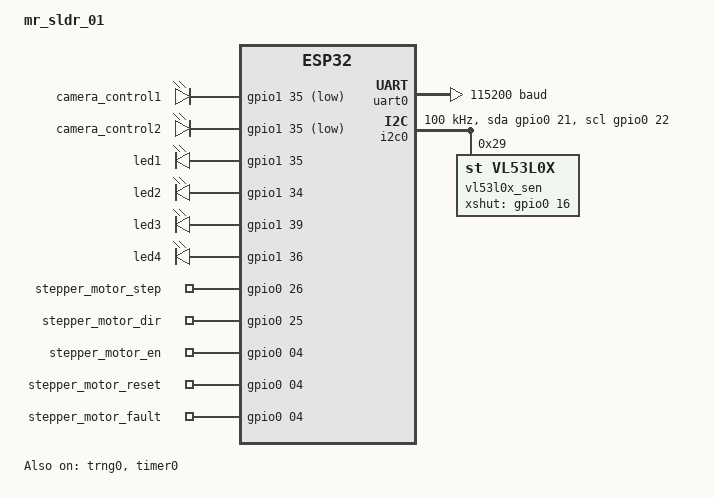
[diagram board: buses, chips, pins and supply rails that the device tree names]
/*
 * Copyright (c) 2021 Espressif Systems (Shanghai) Co., Ltd.
 *
 * SPDX-License-Identifier: Apache-2.0
 */
/dts-v1/;

#include <espressif/esp32.dtsi>
#include "mr_sldr_01-pinctrl.dtsi"

/ {
	model = "mr_sldr_01";
	compatible = "espressif,esp32";

	chosen {
		zephyr,sram = &sram0;
		zephyr,console = &uart0;
		zephyr,shell-uart = &uart0;
		zephyr,flash = &flash0;
	};

	leds {
		compatible = "gpio-leds";
     camera_control1: camera_control1 { 
       gpios = <&gpio1 35 GPIO_ACTIVE_LOW>; 
     }; 
     camera_control2: camera_control2 { 
       gpios = <&gpio1 35 GPIO_ACTIVE_LOW>; 
     }; 
     led1: led1 { 
       gpios = <&gpio1 35 GPIO_ACTIVE_HIGH>; 
     }; 
     led2: led2 { 
       gpios = <&gpio1 34 GPIO_ACTIVE_HIGH>; 
     }; 
     led3: led3 { 
       gpios = <&gpio1 39 GPIO_ACTIVE_HIGH>; 
     }; 
     led4: led4 { 
       gpios = <&gpio1 36 GPIO_ACTIVE_HIGH>; 
     }; 
     stepper_motor_step: stepper_motor_step { 
       gpios = <&gpio0 26 GPIO_ACTIVE_HIGH>; 
     }; 
     stepper_motor_dir: stepper_motor_dir { 
       gpios = <&gpio0 25 GPIO_ACTIVE_HIGH>; 
     }; 
     stepper_motor_en: stepper_motor_en { 
       gpios = <&gpio0 04 GPIO_ACTIVE_HIGH>; 
     }; 
     stepper_motor_reset: stepper_motor_reset { 
       gpios = <&gpio0 04 GPIO_ACTIVE_HIGH>; 
     }; 
     stepper_motor_fault: stepper_motor_fault { 
       gpios = <&gpio0 04 GPIO_ACTIVE_HIGH>; 
     }; 
	};
};

&cpu0 {
	clock-frequency = <ESP32_CLK_CPU_240M>;
};

&cpu1 {
	clock-frequency = <ESP32_CLK_CPU_240M>;
};

&uart0 {
	status = "okay";
	current-speed = <115200>;
	pinctrl-0 = <&uart0_default>;
	pinctrl-names = "default";
};

&gpio0 {
	status = "okay";
};

&gpio1 {
	status = "okay";
};

&i2c0 {
  clock-frequency = <I2C_BITRATE_STANDARD>;
  pinctrl-0 = <&i2c0_default>;
  pinctrl-names = "default";
  status = "okay";
  sda-gpios = <&gpio0 21 GPIO_OPEN_DRAIN>;
  scl-gpios = <&gpio0 22 GPIO_OPEN_DRAIN>;
 vl53l0x_sen: vl53l0x@29{
    compatible = "st,vl53l0x"; 
    reg = < 0x29 >;
    status = "okay";
    friendly-name = "rangefinder";
    xshut-gpios = <&gpio0 16 GPIO_ACTIVE_HIGH>;
  };
};

&trng0 {
	status = "okay";
};

&timer0 {
	status = "okay";
  prescaler = <80>;
};

&flash0 {
	status = "okay";
	partitions {
		compatible = "fixed-partitions";
		#address-cells = <1>;
		#size-cells = <1>;

		/* Reserve 60kB for the bootloader */
		boot_partition: partition@1000 {
			label = "mcuboot";
			reg = <0x00001000 0x0000F000>;
			read-only;
		};

		/* Reserve 1024kB for the application in slot 0 */
		slot0_partition: partition@10000 {
			label = "image-0";
			reg = <0x00010000 0x00100000>;
		};

		/* Reserve 1024kB for the application in slot 1 */
		slot1_partition: partition@110000 {
			label = "image-1";
			reg = <0x00110000 0x00100000>;
		};

		/* Reserve 256kB for the scratch partition */
		scratch_partition: partition@210000 {
			   label = "image-scratch";
			   reg = <0x00210000 0x00040000>;
		};

		storage_partition: partition@250000 {
			label = "storage";
			reg = <0x00250000 0x00006000>;
		};
	};
};
